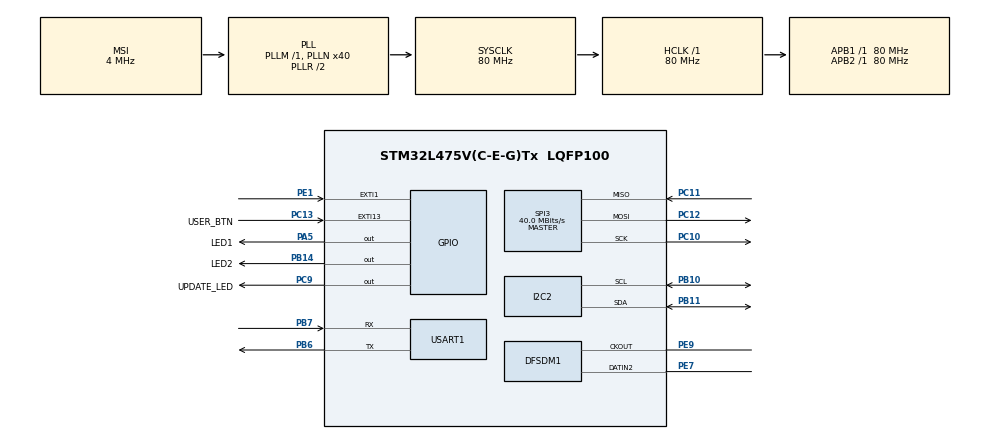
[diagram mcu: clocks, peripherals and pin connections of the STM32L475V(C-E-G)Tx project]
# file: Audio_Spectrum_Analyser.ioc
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DFSDM1.Divider=100
DFSDM1.DmaMode_reg_FIL0=ENABLE
DFSDM1.FilterOrder_CH2=DFSDM_CHANNEL_FASTSINC_ORDER
DFSDM1.Filter_regChannel_FIL0=DFSDM_CHANNEL_2
DFSDM1.Fosr_FIL0=64
DFSDM1.RightBitShift_CH2=0x08
DFSDM1.SincOrder_FIL0=DFSDM_FILTER_SINC3_ORDER
DFSDM1.Type_spi_CH2=DFSDM_CHANNEL_SPI_RISING
Dma.DFSDM1_FLT0.0.Direction=DMA_PERIPH_TO_MEMORY
Dma.DFSDM1_FLT0.0.Instance=DMA1_Channel4
Dma.DFSDM1_FLT0.0.MemDataAlignment=DMA_MDATAALIGN_WORD
Dma.DFSDM1_FLT0.0.MemInc=DMA_MINC_ENABLE
Dma.DFSDM1_FLT0.0.Mode=DMA_CIRCULAR
Dma.DFSDM1_FLT0.0.PeriphDataAlignment=DMA_PDATAALIGN_WORD
Dma.DFSDM1_FLT0.0.PeriphInc=DMA_PINC_DISABLE
Dma.DFSDM1_FLT0.0.Priority=DMA_PRIORITY_LOW
Dma.Request0=DFSDM1_FLT0
I2C2.Timing=0x10D19CE4
Mcu.Family=STM32L4
Mcu.Name=STM32L475V(C-E-G)Tx
Mcu.Package=LQFP100
NVIC.DFSDM1_FLT0_IRQn=true\:0\:0\:false\:false\:true\:true\:true\:true
NVIC.DMA1_Channel4_IRQn=true\:0\:0\:false\:false\:true\:false\:true\:true
NVIC.EXTI15_10_IRQn=true\:0\:0\:false\:false\:true\:true\:true\:true
NVIC.EXTI1_IRQn=true\:0\:0\:false\:false\:true\:true\:true\:true
NVIC.PriorityGroup=NVIC_PRIORITYGROUP_4
NVIC.SPI3_IRQn=true\:0\:0\:false\:false\:false\:true\:true\:true
PA13\ (JTMS-SWDIO).Mode=Trace_Asynchronous_SW
PA13\ (JTMS-SWDIO).Signal=SYS_JTMS-SWDIO
PA14\ (JTCK-SWCLK).Mode=Trace_Asynchronous_SW
PA14\ (JTCK-SWCLK).Signal=SYS_JTCK-SWCLK
PA5.GPIO_Label=LED1
PA5.Signal=GPIO_Output
PB10.Mode=I2C
PB10.Signal=I2C2_SCL
PB11.Mode=I2C
PB11.Signal=I2C2_SDA
PB14.GPIO_Label=LED2
PB14.Signal=GPIO_Output
PB3\ (JTDO-TRACESWO).Mode=Trace_Asynchronous_SW
PB3\ (JTDO-TRACESWO).Signal=SYS_JTDO-SWO
PB6.Mode=Asynchronous
PB6.Signal=USART1_TX
PB7.Mode=Asynchronous
PB7.Signal=USART1_RX
PC10.Mode=Full_Duplex_Master
PC10.Signal=SPI3_SCK
PC11.Mode=Full_Duplex_Master
PC11.Signal=SPI3_MISO
PC12.Mode=Full_Duplex_Master
PC12.Signal=SPI3_MOSI
PC13.GPIO_Label=USER_BTN
PC13.GPIO_PuPd=GPIO_PULLDOWN
PC13.Signal=GPXTI13
PC9.GPIO_Label=UPDATE_LED
PC9.Signal=GPIO_Output
PE1.Signal=GPXTI1
PE7.Signal=S_DATAIN2DFSDM1
PE9.GPIO_Speed=GPIO_SPEED_FREQ_VERY_HIGH
PE9.Signal=S_CKOUTDFSDM1
ProjectManager.HeapSize=0x800
ProjectManager.StackSize=0x1000
ProjectManager.TargetToolchain=STM32CubeIDE
RCC.ADCFreq_Value=32000000
RCC.AHBFreq_Value=80000000
RCC.APB1Freq_Value=80000000
RCC.APB1TimFreq_Value=80000000
RCC.APB2Freq_Value=80000000
RCC.APB2TimFreq_Value=80000000
RCC.CortexFreq_Value=80000000
RCC.HCLKFreq_Value=80000000
RCC.HSE_VALUE=8000000
RCC.HSI_VALUE=16000000
RCC.LSE_VALUE=32768
RCC.MSI_VALUE=4000000
RCC.PLLN=40
RCC.PLLSAI1N=16
RCC.SYSCLKFreq_VALUE=80000000
RCC.SYSCLKSource=RCC_SYSCLKSOURCE_PLLCLK
RCC.USBFreq_Value=32000000
RCC.VCOOutputFreq_Value=160000000
SH.S_CKOUTDFSDM1.0=DFSDM1_CKOUT,CKOUT
SH.S_CKOUTDFSDM1.1=DFSDM1_CKOUT,PDM_SPI_input_from_ch2_and_internal_clock
SH.S_DATAIN2DFSDM1.0=DFSDM1_DATIN2,PDM_SPI_input_from_ch2_and_internal_clock
SPI3.CalculateBaudRate=40.0 MBits/s
SPI3.Direction=SPI_DIRECTION_2LINES
SPI3.Mode=SPI_MODE_MASTER
SPI3.VirtualType=VM_MASTER
USART1.VirtualMode-Asynchronous=VM_ASYNC
VP_RNG_VS_RNG.Mode=RNG_Activate
VP_wolfSSL.I-CUBE-wolfSSL_VS_wolfSSLJjwolfSSL_5.8.4_5.8.4.Mode=wolfSSLJjwolfSSL
board=custom
wolfSSL.I-CUBE-wolfSSL.5.8.4.WOLF_CONF_DEBUG=1
wolfSSL.I-CUBE-wolfSSL.5.8.4.WOLF_CONF_MATH=1
wolfSSL.I-CUBE-wolfSSL.5.8.4.WOLF_CONF_SHA2_384=1
wolfSSL.I-CUBE-wolfSSL.5.8.4.wolfSSLCcwolfSSLJjwolfCryptJjCore=true
wolfSSL.I-CUBE-wolfSSL.5.8.4.wolfSSLCcwolfSSLJjwolfSSLJjCore=true

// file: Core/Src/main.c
/* USER CODE BEGIN Header */
/**
  ******************************************************************************
  * @file           : main.c
  * @brief          : Main program body
  ******************************************************************************
  * @attention
  *
  * Copyright (c) 2026 STMicroelectronics.
  * All rights reserved.
  *
  * This software is licensed under terms that can be found in the LICENSE file
  * in the root directory of this software component.
  * If no LICENSE file comes with this software, it is provided AS-IS.
  *
  ******************************************************************************
  */
/* USER CODE END Header */
#include "main.h"

/* USER CODE BEGIN Includes */

#include <stdio.h>
#include <string.h>
#include "arm_math.h"
#include "secrets.h"
#include "wifi.h"
#include "stm32l475e_iot01.h"
#include "ota_update.h"
#include "connect_to_wifi.h"

#include "wolfssl/ssl.h"
#include "wolfssl/error-ssl.h"
#include "wolfssl/wolfcrypt/error-crypt.h"

/*
 * Always comment out void SPI3_IRQHandler(void) in stm32l4xx_it.c
 *
 */

/* USER CODE END Includes */

/* USER CODE BEGIN PD */

/** Process_fft**/
 #define VOLUME_THRESHOLD 100000
#define CRY_FREQ_MIN 700
#define CRY_FREQ_MAX 1200
#define SAMPLE_RATE       12500  // (Clock speed/divider) / oversampling rate
#define HALF_BUFFER_LEN           1024   // Must match your buffer processing
#define WIFI_WRITE_TIMEOUT 10000

/** Smart monitor timing PD **/
// 1. How long is one "tick"? (1024 samples / 12.5kHz) = 81ms, with divider = 100
#define FRAME_S ((float)HALF_BUFFER_LEN / (float)SAMPLE_RATE)

// 2. Window Size: 5 / 0.08192 = 61.03 -> (int)61
#define WINDOW_SEC 5
#define WINDOW_SIZE (int)(WINDOW_SEC / FRAME_S)

#define PROOF_SEC 0.5
#define TRIGGER_THRESHOLD (int)(PROOF_SEC / FRAME_S)

/* USER CODE END PD */

DFSDM_Filter_HandleTypeDef hdfsdm1_filter0;
DFSDM_Channel_HandleTypeDef hdfsdm1_channel2;
DMA_HandleTypeDef hdma_dfsdm1_flt0;

I2C_HandleTypeDef hi2c2;

RNG_HandleTypeDef hrng;

SPI_HandleTypeDef hspi3;

UART_HandleTypeDef huart1;

/* USER CODE BEGIN PV */

uint32_t pChannel = 0; // Needed to store which channel the data came from
int32_t mic_val = 0;   // To store the actual audio data

volatile uint8_t button_pressed_flag = 0;

/** DMA **/
#define BUFF_SIZE 2048
int32_t RecBuff[BUFF_SIZE]; // The "Big Box" for audio samples
uint8_t half_transfer_flag = 0; // Flag: First half is full
uint8_t full_transfer_flag = 0; // Flag: Second half is full

/** FT SETTINGS  **/
#define HALF_BUFFER_LEN 1024  // Length of the analysis window
arm_rfft_fast_instance_f32 fft_handler; // The FFT "Object"
float fft_in_buf[HALF_BUFFER_LEN];    // Input: Audio in floats
float fft_out_buf[HALF_BUFFER_LEN];   // Output: Complex numbers (Real + Imaginary)
float fft_mag_buf[HALF_BUFFER_LEN/2]; // Final: Magnitude (Just the loudness)
volatile uint8_t buffer_state = 0;

uint16_t history_idx = 0;   // Where are we writing in the circle?
uint16_t current_score = 0; // Running sum of votes (How many 1s are in the array?)
uint8_t alarm_active = 0;   // Prevent spamming WiFi

/**Wifi**/

int32_t Socket = -1;

uint16_t Datalen;
int32_t ret;
extern ES_WIFIObject_t EsWifiObj;

#if defined (TERMINAL_USE)
#define TERMOUT(...)  printf(__VA_ARGS__)
#else
#define TERMOUT(...)
#endif

extern SPI_HandleTypeDef hspi;

/* USER CODE END PV */

void SystemClock_Config(void);
static void MX_GPIO_Init(void);
static void MX_DMA_Init(void);
static void MX_DFSDM1_Init(void);
static void MX_USART1_UART_Init(void);
static void MX_I2C2_Init(void);
static void MX_SPI3_Init(void);
static void MX_RNG_Init(void);

/* USER CODE BEGIN 0 */

#define REQ_BUFFER_SIZE  1024
#define RESP_BUFFER_SIZE 1024

static uint8_t req_buffer[REQ_BUFFER_SIZE];
static uint8_t resp_buffer[RESP_BUFFER_SIZE];

const char ca_cert_bundle[] =
"-----BEGIN CERTIFICATE-----\n"
"MIIFazCCA1OgAwIBAgIRAIIQz7DSQONZRGPgu2OCiwAwDQYJKoZIhvcNAQELBQAw\n"
"TzELMAkGA1UEBhMCVVMxKTAnBgNVBAoTIEludGVybmV0IFNlY3VyaXR5IFJlc2Vh\n"
"cmNoIEdyb3VwMRUwEwYDVQQDEwxJU1JHIFJvb3QgWDEwHhcNMTUwNjA0MTEwNDM4\n"
"WhcNMzUwNjA0MTEwNDM4WjBPMQswCQYDVQQGEwJVUzEpMCcGA1UEChMgSW50ZXJu\n"
"ZXQgU2VjdXJpdHkgUmVzZWFyY2ggR3JvdXAxFTATBgNVBAMTDElTUkcgUm9vdCBY\n"
"MTCCAiIwDQYJKoZIhvcNAQEBBQADggIPADCCAgoCggIBAK3oJHP0FDfzm54rVygc\n"
"h77ct984kIxuPOZXoHj3dcKi/vVqbvYATyjb3miGbESTtrFj/RQSa78f0uoxmyF+\n"
"0TM8ukj13Xnfs7j/EvEhmkvBioZxaUpmZmyPfjxwv60pIgbz5MDmgK7iS4+3mX6U\n"
"A5/TR5d8mUgjU+g4rk8Kb4Mu0UlXjIB0ttov0DiNewNwIRt18jA8+o+u3dpjq+sW\n"
"T8KOEUt+zwvo/7V3LvSye0rgTBIlDHCNAymg4VMk7BPZ7hm/ELNKjD+Jo2FR3qyH\n"
"B5T0Y3HsLuJvW5iB4YlcNHlsdu87kGJ55tukmi8mxdAQ4Q7e2RCOFvu396j3x+UC\n"
"B5iPNgiV5+I3lg02dZ77DnKxHZu8A/lJBdiB3QW0KtZB6awBdpUKD9jf1b0SHzUv\n"
"KBds0pjBqAlkd25HN7rOrFleaJ1/ctaJxQZBKT5ZPt0m9STJEadao0xAH0ahmbWn\n"
"OlFuhjuefXKnEgV4We0+UXgVCwOPjdAvBbI+e0ocS3MFEvzG6uBQE3xDk3SzynTn\n"
"jh8BCNAw1FtxNrQHusEwMFxIt4I7mKZ9YIqioymCzLq9gwQbooMDQaHWBfEbwrbw\n"
"qHyGO0aoSCqI3Haadr8faqU9GY/rOPNk3sgrDQoo//fb4hVC1CLQJ13hef4Y53CI\n"
"rU7m2Ys6xt0nUW7/vGT1M0NPAgMBAAGjQjBAMA4GA1UdDwEB/wQEAwIBBjAPBgNV\n"
"HRMBAf8EBTADAQH/MB0GA1UdDgQWBBR5tFnme7bl5AFzgAiIyBpY9umbbjANBgkq\n"
"hkiG9w0BAQsFAAOCAgEAVR9YqbyyqFDQDLHYGmkgJykIrGF1XIpu+ILlaS/V9lZL\n"
"ubhzEFnTIZd+50xx+7LSYK05qAvqFyFWhfFQDlnrzuBZ6brJFe+GnY+EgPbk6ZGQ\n"
"3BebYhtF8GaV0nxvwuo77x/Py9auJ/GpsMiu/X1+mvoiBOv/2X/qkSsisRcOj/KK\n"
"NFtY2PwByVS5uCbMiogziUwthDyC3+6WVwW6LLv3xLfHTjuCvjHIInNzktHCgKQ5\n"
"ORAzI4JMPJ+GslWYHb4phowim57iaztXOoJwTdwJx4nLCgdNbOhdjsnvzqvHu7Ur\n"
"TkXWStAmzOVyyghqpZXjFaH3pO3JLF+l+/+sKAIuvtd7u+Nxe5AW0wdeRlN8NwdC\n"
"jNPElpzVmbUq4JUagEiuTDkHzsxHpFKVK7q4+63SM1N95R1NbdWhscdCb+ZAJzVc\n"
"oyi3B43njTOQ5yOf+1CceWxG1bQVs5ZufpsMljq4Ui0/1lvh+wjChP4kqKOJ2qxq\n"
"4RgqsahDYVvTH9w7jXbyLeiNdd8XM2w9U/t7y0Ff/9yi0GE44Za4rF2LN9d11TPA\n"
"mRGunUHBcnWEvgJBQl9nJEiU0Zsnvgc/ubhPgXRR4Xq37Z0j4r7g1SgEEzwxA57d\n"
"emyPxgcYxn/eR44/KJ4EBs+lVDR3veyJm+kXQ99b21/+jh5Xos1AnX5iItreGCc=\n"
"-----END CERTIFICATE-----\n";

static int my_verify_callback(int preverify, WOLFSSL_X509_STORE_CTX* store) {
    // Return 1 to bypass strict verification for testing purposes.
    // In production, return 'preverify' to enforce CA validation.
    return 1;

}

static int my_IOSend(WOLFSSL* ssl, char* buf, int sz, void* ctx) {
    int socket_id = wolfSSL_get_fd(ssl);
    uint16_t total_sent = 0;
    int retries = 3;

    while (total_sent < sz) {
        uint16_t chunk_size = (sz - total_sent > 1200) ? 1200 : (sz - total_sent);
        uint16_t sent_len = 0;

        if (WIFI_SendData(socket_id, (uint8_t*)(buf + total_sent), chunk_size, &sent_len, 2000) != WIFI_STATUS_OK) {
            return WOLFSSL_CBIO_ERR_GENERAL;
        }

        if (sent_len == 0) {
        	retries--;
            if (retries <= 0) {
                return WOLFSSL_CBIO_ERR_TIMEOUT;
            }
            continue;
        }

        retries = 3;
        total_sent += sent_len;
    }

    return total_sent;
}

/**
  * @brief  Custom wolfSSL I/O receive callback for the Inventek ISM43362 Wi-Fi module.
  * @param  ssl:  Pointer to the wolfSSL session context.
  * @param  buf:  Destination buffer for received bytes.
  * @param  sz:   Requested read length (in bytes).
  * @param  ctx:  User-defined I/O context pointer.
  * @retval Number of bytes successfully received, or a negative wolfSSL I/O error code.
  *
  * @note   If there is a timeout, Inventek will still return WIFI_STATUS_OK (no error), thus leading to an infinite loop.
  *			This is why I added a limited amount of retry.
  */
static int my_IORecv(WOLFSSL* ssl, char* buf, int sz, void* ctx) {
    int socket_id = wolfSSL_get_fd(ssl);
    uint16_t rec_len = 0;
    uint16_t chunk_size = (sz > 1200) ? 1200 : sz;
    int retries = 3;

    while (retries--) {
        if (WIFI_ReceiveData(socket_id, (uint8_t*)buf, chunk_size, &rec_len, 5000) != WIFI_STATUS_OK) {
            return WOLFSSL_CBIO_ERR_GENERAL;
        }
        if (rec_len > 0) {
            return rec_len;
        }
    }

    return WOLFSSL_CBIO_ERR_TIMEOUT;
}

typedef enum {
	SYS_SLEEP,
	SYS_WIFI_CONNECTING,
	SYS_RUNNING_WITH_NO_WIFI,
	SYS_TCP_CONNECTING,
	SYS_RUNNING_WITH_NO_TCP,
	OTA_CHECKING_UPDATE,
	OTA_UPDATING,
	SYS_NORMAL_RUNNING

} Device_State_t;

Device_State_t current_device_state = SYS_SLEEP;

int _write(int file, char *ptr, int len)
{
//  (void)file;
//  int DataIdx;
//
//  for (DataIdx = 0; DataIdx < len; DataIdx++)
//  {
//    ITM_SendChar(*ptr++);
//  }
	HAL_UART_Transmit(&huart1, (uint8_t *)ptr, len, HAL_MAX_DELAY);
	return len;
}

float Process_FFT(int32_t *r)
{
    int32_t *source_buffer = r;

    // --- STEP 1: MATH (Calculate FFT) ---
    // 1. Remove DC Offset
    int64_t sum = 0;
    for (int i = 0; i < HALF_BUFFER_LEN; i++) sum += source_buffer[i];
    float avg = (float)sum / (float)HALF_BUFFER_LEN;
    for (int i = 0; i < HALF_BUFFER_LEN; i++) fft_in_buf[i] = (float)source_buffer[i] - avg;

    // 2. Run FFT
    arm_rfft_fast_f32(&fft_handler, fft_in_buf, fft_out_buf, 0);
    arm_cmplx_mag_f32(fft_out_buf, fft_mag_buf, HALF_BUFFER_LEN/2);

    // --- STEP 2: ANALYZE (Find the Peak strictly for Baby Crying) ---
    float maxVal = 0.0f;
    uint32_t maxIndex = 0;

    uint32_t bin_min = (CRY_FREQ_MIN * HALF_BUFFER_LEN) / SAMPLE_RATE;
    uint32_t bin_max = (CRY_FREQ_MAX * HALF_BUFFER_LEN) / SAMPLE_RATE;

    // Only scan for peaks WITHIN the baby frequency band
    for (uint32_t i = bin_min; i <= bin_max; i++)
    {
        if (fft_mag_buf[i] > maxVal)
        {
            maxVal = fft_mag_buf[i];
            maxIndex = i;
        }
    }

    // Convert Bin Index back to Frequency in Hz
    float dominant_freq = (float)maxIndex * ((float)SAMPLE_RATE / (float)HALF_BUFFER_LEN);

    // --- STEP 3: FILTER (Is it loud enough?) ---
    if (maxVal > VOLUME_THRESHOLD)
    {
        printf(">>> MATCH! Baby Frequency Detected: %.0f Hz  at max frequency: %.2f<<<\r\n", dominant_freq, maxVal);
        return dominant_freq;
    }

    return 0.0f; // Return 0 if silence or non-baby noise
}

static int Send_Sensor_Payload(WOLFSSL* ssl, const char *sensor_name, float value, int keep_alive) {
    char json_body[128];
    int json_len = snprintf(json_body, sizeof(json_body),  "{\"sensor_name\": \"%s\", \"value\": %.2f}", sensor_name, value);

    int req_len = snprintf((char *)req_buffer, sizeof(req_buffer),
        "POST /data HTTP/1.1\r\n"
        "Host: %s\r\n"
        "Content-Type: application/json\r\n"
        "X-API-Key: %s\r\n"
        "Content-Length: %d\r\n"
        "Connection: %s\r\n"
        "\r\n"
        "%s",
        SERVER_HOST, API_KEY, json_len, keep_alive ? "keep-alive" : "close", json_body);

    if (wolfSSL_write(ssl, req_buffer, req_len) < 0) {
        return 0;
    }

    memset(resp_buffer, 0, sizeof(resp_buffer));
    int total_bytes = 0;
    int success = 0;

    // The railway server send multiple respond packet. We must clear Inventek buffer before moving on.
    while (total_bytes < (sizeof(resp_buffer) - 1)) {
        int bytes_read = wolfSSL_read(ssl, resp_buffer + total_bytes, sizeof(resp_buffer) - total_bytes - 1);

        if (bytes_read <= 0) {
            break;
        }

        total_bytes += bytes_read;
        if (strstr((char *)resp_buffer, "HTTP/1.1 201") != NULL ||
            strstr((char *)resp_buffer, "HTTP/1.1 200") != NULL) {
            success = 1;
        }
        if (strstr((char *)resp_buffer, "}") != NULL) {
            break;
        }
    }

    return success;
}

int Process_Backlog_And_Send_Live(float press_val) {
    uint8_t server_ip[4] = {0};
    uint8_t TCP_success = 1;

    if (WIFI_GetHostAddress((char *)SERVER_HOST, server_ip, sizeof(server_ip)) != WIFI_STATUS_OK) {
        printf("> DNS lookup failed\r\n");
        return 0;
    }

    wolfSSL_Init();
    WOLFSSL_CTX* ctx = wolfSSL_CTX_new(wolfTLSv1_2_client_method());
    if (ctx == NULL) {
        printf("> Error: Failed to create wolfSSL context\r\n");
        return 0;
    }

    wolfSSL_SetIOSend(ctx, my_IOSend);
    wolfSSL_SetIORecv(ctx, my_IORecv);

    int ret = wolfSSL_CTX_load_verify_buffer(ctx, (const unsigned char*)ca_cert_bundle, strlen(ca_cert_bundle), WOLFSSL_FILETYPE_PEM);
    if (ret != WOLFSSL_SUCCESS) {
        char err_str[80];
        wolfSSL_ERR_error_string(ret, err_str);
        printf("Buffer load failed: %s\n", err_str);
        wolfSSL_CTX_free(ctx);
        wolfSSL_Cleanup();
        return 0;
    }

    wolfSSL_CTX_set_verify(ctx, WOLFSSL_VERIFY_PEER, my_verify_callback);
    wolfSSL_CTX_UseSNI(ctx, WOLFSSL_SNI_HOST_NAME, SERVER_HOST, strlen(SERVER_HOST));

    if (WIFI_OpenClientConnection(SOCKET_ID, WIFI_TCP_PROTOCOL, "FlaskServer", server_ip, SERVER_PORT, 0) != WIFI_STATUS_OK) {
        printf("> TCP connection failed\r\n");
        wolfSSL_CTX_free(ctx);
        return 0;
    }

    WOLFSSL* ssl = wolfSSL_new(ctx);
    wolfSSL_set_fd(ssl, SOCKET_ID);

    printf("> Starting wolfSSL TLS Handshake...\r\n");
    if (wolfSSL_connect(ssl) != WOLFSSL_SUCCESS) {
        int err = wolfSSL_get_error(ssl, 0);
        char err_str[80];
        wolfSSL_ERR_error_string(err, err_str);
        printf("wolfSSL_connect error %d: %s\n", err, err_str);
        wolfSSL_free(ssl);
        wolfSSL_CTX_free(ctx);
        WIFI_CloseClientConnection(SOCKET_ID);
        return 0;
    }
    printf("> Secure TLS connection established via wolfSSL!\r\n");

    /*
     * --- LITTLEFS BACKLOG STUBBED FOR TLS TESTING ---
     *
     * lfs_file_t file;
     * int file_opened = (lfs_file_open(&lfs, &file, "backlog.bin", LFS_O_RDONLY) == 0);
     * if (file_opened) { ... }
     */

    if (TCP_success) {
        printf("> Sending live reading: %.2f\r\n", press_val);
        if (Send_Sensor_Payload(ssl, "humidity_percent", press_val, 0) == 0) {
            // Save_Offline_Data("humidity_percent", press_val);
            printf("> Failed to send live payload.\r\n");
        }
    }

    wolfSSL_free(ssl);
    wolfSSL_CTX_free(ctx);
    wolfSSL_Cleanup();
    WIFI_CloseClientConnection(SOCKET_ID);
    printf("> Connection closed.\r\n");

    return TCP_success;
}

void Process_Acoustic_Monitor(void)
{
    if (buffer_state != 0)
    {

        int32_t *current_chunk = (buffer_state == 1) ? &RecBuff[0] : &RecBuff[BUFF_SIZE/2];

        float freq = Process_FFT(current_chunk);

        uint8_t new_vote = (freq > 0) ? 1 : 0;

        current_score -= vote_history[history_idx];
        current_score += new_vote;
        vote_history[history_idx] = new_vote;

        history_idx++;
        if (history_idx >= WINDOW_SIZE) history_idx = 0;

        if (current_score >= TRIGGER_THRESHOLD)
        {
            if (alarm_active == 0)
            {
                 printf("!!! ALARM TRIGGERED !!! (Score: %d/%d)\n", current_score, WINDOW_SIZE);

                 if ((current_device_state == SYS_NORMAL_RUNNING)) {
					  char msg[256];

					  sprintf(msg,
							  "GET /alert?freq=%.0f HTTP/1.1\r\n"
							  "Host: %d.%d.%d.%d\r\n"
							  "Connection: keep-alive\r\n"
							  "\r\n",
							  freq, RemoteIP[0], RemoteIP[1], RemoteIP[2], RemoteIP[3]);

					  if ( WIFI_SendData(0, (uint8_t*)msg, strlen(msg), &Datalen, WIFI_WRITE_TIMEOUT) != WIFI_STATUS_OK) {

					      printf("> ERROR: Backend stream disconnected unexpectedly.\r\n");

					      WIFI_CloseClientConnection(0);

					      current_device_state = SYS_RUNNING_WITH_NO_TCP;

					      return;
					  }
				  }
                 alarm_active = 1;
            }
        }
        else
        {

            if (current_score < (TRIGGER_THRESHOLD / 2) && alarm_active == 1)
            {
                 printf("Alarm Cleared. (Score: %d)\n", current_score);
                 BSP_LED_Off(LED2);
                 alarm_active = 0;
            }
        }

        buffer_state = 0;
    }
}

void Go_To_Stop_Sleep(void) {
	printf("> Entering STOP 2 Low-Power Mode...\r\n");

	//  wait for the printf text to fully leave the UART hardware
	while (__HAL_UART_GET_FLAG(&huart1, UART_FLAG_TC) == RESET) {
		// Wait...
	}

    WIFI_CloseClientConnection(0);

	HAL_GPIO_WritePin(GPIOA, GPIO_PIN_5, GPIO_PIN_RESET);  // LED1
	HAL_GPIO_WritePin(GPIOB, GPIO_PIN_14, GPIO_PIN_RESET); // LED2

	HAL_DFSDM_FilterRegularStop_DMA(&hdfsdm1_filter0);

	HAL_NVIC_DisableIRQ(EXTI1_IRQn);  // wifi interrupt
	__HAL_GPIO_EXTI_CLEAR_IT(GPIO_PIN_All); // Clear any pending interrupt flag
	HAL_SuspendTick();

	// The CPU stops here until any external interrupt fires (in our case, user_btn)
	HAL_PWR_EnterSTOPMode(PWR_LOWPOWERREGULATOR_ON, PWR_STOPENTRY_WFI);

	HAL_ResumeTick();

	HAL_NVIC_EnableIRQ(EXTI1_IRQn);

	SystemClock_Config();

	if (HAL_DFSDM_FilterRegularStart_DMA(&hdfsdm1_filter0, RecBuff, BUFF_SIZE) != HAL_OK)
	{
	  Error_Handler();
	}

	printf("> Woken up from STOP 2 Mode!\r\n");
}

void Device_ProcessEvent() {

	static server_update_info_t update_data = {0};

	switch(current_device_state) {

		case SYS_SLEEP:
			Go_To_Stop_Sleep();

			if (button_pressed_flag) {
				button_pressed_flag = 0;
				current_device_state = SYS_WIFI_CONNECTING;
			}
			break;

		case SYS_WIFI_CONNECTING:

			if (button_pressed_flag) {
				button_pressed_flag = 0;
				current_device_state = SYS_SLEEP;
				break;
			}

			if (Init_And_Connect_WiFi()) {

				current_device_state = SYS_TCP_CONNECTING;
			}

			else {
				current_device_state = SYS_RUNNING_WITH_NO_WIFI;
			}

			break;

		case SYS_TCP_CONNECTING:

			if (!Open_TCP_Connection()) {
				current_device_state = SYS_RUNNING_WITH_NO_TCP;
				break;
			}

			current_device_state = OTA_CHECKING_UPDATE;
			break;

		case OTA_CHECKING_UPDATE:

			if (Check_For_Update_OTA(&update_data)) {

				if (update_data.update_flag == UPDATE_AVAILABLE_FLAG) {
					// turn on LED
					current_device_state = OTA_UPDATING;
				}
				else {
					HAL_Delay(500);
					if (Open_TCP_Connection()) {
						current_device_state = SYS_NORMAL_RUNNING;
					} else {
						current_device_state = SYS_RUNNING_WITH_NO_TCP;
					}
				}
			}
			else {
				HAL_Delay(500);
				if (Open_TCP_Connection()) {
					current_device_state = SYS_NORMAL_RUNNING;
				} else {
					current_device_state = SYS_RUNNING_WITH_NO_TCP;
				}
			}

			break;

		case OTA_UPDATING:
			Download_And_Flash_Update(&update_data);
			// this will reboot system
			break;

		case SYS_RUNNING_WITH_NO_WIFI:
		{
			if (hdfsdm1_filter0.State == HAL_DFSDM_FILTER_STATE_READY) { // this checks if dma already on
				HAL_DFSDM_FilterRegularStart_DMA(&hdfsdm1_filter0, RecBuff, BUFF_SIZE);
			}
			Process_Acoustic_Monitor();

			static uint32_t last_wifi_retry_tick = 0;
			uint32_t current_tick = HAL_GetTick();

			if (current_tick - last_wifi_retry_tick >= 60000)
			{
				last_wifi_retry_tick = current_tick; // Reset the timer

				printf("> 60 seconds passed. Attempting Wi-Fi reconnection...\r\n");

				// Stop the audio DMA so it doesn't overflow while the CPU is busy connecting
				HAL_DFSDM_FilterRegularStop_DMA(&hdfsdm1_filter0);

				current_device_state = SYS_WIFI_CONNECTING;
				break;
			}

			if (button_pressed_flag) {
				button_pressed_flag = 0;
				printf("> User requested Sleep Mode. Transitioning...\r\n");
				current_device_state = SYS_SLEEP;
			}
			break;
		}

		case SYS_RUNNING_WITH_NO_TCP:
		{
			if (hdfsdm1_filter0.State == HAL_DFSDM_FILTER_STATE_READY) { // this checks if dma already on
				HAL_DFSDM_FilterRegularStart_DMA(&hdfsdm1_filter0, RecBuff, BUFF_SIZE); // Start the microphone data samplinh
			}

			Process_Acoustic_Monitor();

			static uint32_t last_tcp_retry_tick = 0;
			uint32_t current_tick = HAL_GetTick();

			if (current_tick - last_tcp_retry_tick >= 10000)
			{
				last_tcp_retry_tick = current_tick;

				uint8_t local_ip[4] = {0};

				if (WIFI_GetIP_Address(local_ip, sizeof(local_ip))  != WIFI_STATUS_OK ||
				   (local_ip[0] == 0 && local_ip[1] == 0))
				{
					printf("> ERROR: Lost IP Address. Router disconnected.\r\n");

					HAL_DFSDM_FilterRegularStop_DMA(&hdfsdm1_filter0);
					current_device_state = SYS_RUNNING_WITH_NO_WIFI;
					break;
				}
				else
				{
					printf("> Wi-Fi is active (IP: %d.%d.%d.%d). Retrying TCP connection...\r\n",
							local_ip[0], local_ip[1], local_ip[2], local_ip[3]);

					HAL_DFSDM_FilterRegularStop_DMA(&hdfsdm1_filter0);
					current_device_state = SYS_TCP_CONNECTING;
					break;
				}
			}

			if (button_pressed_flag) {
				button_pressed_flag = 0;
				printf("> User requested Sleep Mode. Transitioning...\r\n");
				current_device_state = SYS_SLEEP;
			}
			break;
		}

		case SYS_NORMAL_RUNNING:
		{
			if (hdfsdm1_filter0.State == HAL_DFSDM_FILTER_STATE_READY) {
				HAL_DFSDM_FilterRegularStart_DMA(&hdfsdm1_filter0, RecBuff, BUFF_SIZE);
			}

			Process_Acoustic_Monitor();

			// Periodically check if connection alive ( every 300 seconds)
			static uint32_t last_tcp_check_tick = 0;
			uint32_t current_tick = HAL_GetTick();

			if (current_tick - last_tcp_check_tick >= 10000)
			{
				last_tcp_check_tick = current_tick;
				uint16_t sent_size = 0;
				char heartbeat_req[128];
				snprintf(heartbeat_req, sizeof(heartbeat_req),
						 "GET /ping HTTP/1.1\r\n"
						 "Host: %d.%d.%d.%d\r\n"
						 "Connection: keep-alive\r\n\r\n",
						 RemoteIP[0], RemoteIP[1], RemoteIP[2], RemoteIP[3]);

				if (WIFI_SendData(0, (uint8_t*)heartbeat_req, strlen(heartbeat_req), &sent_size, 500) != WIFI_STATUS_OK)
				{
					printf("> ERROR: Periodic TCP heartbeat failed. Dropping to offline mode...\r\n");

					WIFI_CloseClientConnection(0);
					current_device_state = SYS_RUNNING_WITH_NO_TCP;
					break;
				}
			}

			if (button_pressed_flag) {
				button_pressed_flag = 0;
				printf("> User requested Sleep Mode. Transitioning...\r\n");
				current_device_state = SYS_SLEEP;
			}
			break;
		}

	}
}
/* USER CODE END 0 */

int main(void)
{

  /* MCU Configuration--------------------------------------------------------*/

  /* Reset of all peripherals, Initializes the Flash interface and the Systick. */
  HAL_Init();

  /* USER CODE BEGIN Init */

  SCB->VTOR = 0x08008000;

  __enable_irq();

  /* USER CODE END Init */

  /* Configure the system clock */
  SystemClock_Config();

  /* Initialize all configured peripherals */
  MX_GPIO_Init();
  MX_DMA_Init();
  MX_DFSDM1_Init();
  MX_USART1_UART_Init();
  MX_I2C2_Init();
  MX_SPI3_Init();
  MX_RNG_Init();
  /* USER CODE BEGIN 2 */

  arm_rfft_fast_init_f32(&fft_handler, HALF_BUFFER_LEN);

//  if (Init_And_Connect_WiFi()) {
//        Process_Backlog_And_Send_Live(10.0);
//    } else {
//        printf("> Wi-Fi Connection Failed. Cannot send payload.\r\n");
//    }

  /* USER CODE END 2 */

  /* Infinite loop */
  /* USER CODE BEGIN WHILE */
  while (1)
  {

//	  Process_Acoustic_Monitor();
	  Device_ProcessEvent();
    /* USER CODE END WHILE */

  }
}

void SystemClock_Config(void)
{
  RCC_OscInitTypeDef RCC_OscInitStruct = {0};
  RCC_ClkInitTypeDef RCC_ClkInitStruct = {0};

  /** Configure the main internal regulator output voltage
  */
  if (HAL_PWREx_ControlVoltageScaling(PWR_REGULATOR_VOLTAGE_SCALE1) != HAL_OK)
  {
    Error_Handler();
  }

  /** Initializes the RCC Oscillators according to the specified parameters
  * in the RCC_OscInitTypeDef structure.
  */
  RCC_OscInitStruct.OscillatorType = RCC_OSCILLATORTYPE_MSI;
  RCC_OscInitStruct.MSIState = RCC_MSI_ON;
  RCC_OscInitStruct.MSICalibrationValue = 0;
  RCC_OscInitStruct.MSIClockRange = RCC_MSIRANGE_6;
  RCC_OscInitStruct.PLL.PLLState = RCC_PLL_ON;
  RCC_OscInitStruct.PLL.PLLSource = RCC_PLLSOURCE_MSI;
  RCC_OscInitStruct.PLL.PLLM = 1;
  RCC_OscInitStruct.PLL.PLLN = 40;
  RCC_OscInitStruct.PLL.PLLP = RCC_PLLP_DIV7;
  RCC_OscInitStruct.PLL.PLLQ = RCC_PLLQ_DIV2;
  RCC_OscInitStruct.PLL.PLLR = RCC_PLLR_DIV2;
  if (HAL_RCC_OscConfig(&RCC_OscInitStruct) != HAL_OK)
  {
    Error_Handler();
  }

  /** Initializes the CPU, AHB and APB buses clocks
  */
  RCC_ClkInitStruct.ClockType = RCC_CLOCKTYPE_HCLK|RCC_CLOCKTYPE_SYSCLK
                              |RCC_CLOCKTYPE_PCLK1|RCC_CLOCKTYPE_PCLK2;
  RCC_ClkInitStruct.SYSCLKSource = RCC_SYSCLKSOURCE_PLLCLK;
  RCC_ClkInitStruct.AHBCLKDivider = RCC_SYSCLK_DIV1;
  RCC_ClkInitStruct.APB1CLKDivider = RCC_HCLK_DIV1;
  RCC_ClkInitStruct.APB2CLKDivider = RCC_HCLK_DIV1;

  if (HAL_RCC_ClockConfig(&RCC_ClkInitStruct, FLASH_LATENCY_4) != HAL_OK)
  {
    Error_Handler();
  }
}

static void MX_DFSDM1_Init(void)
{

  hdfsdm1_filter0.Instance = DFSDM1_Filter0;
  hdfsdm1_filter0.Init.RegularParam.Trigger = DFSDM_FILTER_SW_TRIGGER;
  hdfsdm1_filter0.Init.RegularParam.FastMode = DISABLE;
  hdfsdm1_filter0.Init.RegularParam.DmaMode = ENABLE;
  hdfsdm1_filter0.Init.FilterParam.SincOrder = DFSDM_FILTER_SINC3_ORDER;
  hdfsdm1_filter0.Init.FilterParam.Oversampling = 64;
  hdfsdm1_filter0.Init.FilterParam.IntOversampling = 1;
  if (HAL_DFSDM_FilterInit(&hdfsdm1_filter0) != HAL_OK)
  {
    Error_Handler();
  }
  hdfsdm1_channel2.Instance = DFSDM1_Channel2;
  hdfsdm1_channel2.Init.OutputClock.Activation = ENABLE;
  hdfsdm1_channel2.Init.OutputClock.Selection = DFSDM_CHANNEL_OUTPUT_CLOCK_SYSTEM;
  hdfsdm1_channel2.Init.OutputClock.Divider = 100;
  hdfsdm1_channel2.Init.Input.Multiplexer = DFSDM_CHANNEL_EXTERNAL_INPUTS;
  hdfsdm1_channel2.Init.Input.DataPacking = DFSDM_CHANNEL_STANDARD_MODE;
  hdfsdm1_channel2.Init.Input.Pins = DFSDM_CHANNEL_SAME_CHANNEL_PINS;
  hdfsdm1_channel2.Init.SerialInterface.Type = DFSDM_CHANNEL_SPI_RISING;
  hdfsdm1_channel2.Init.SerialInterface.SpiClock = DFSDM_CHANNEL_SPI_CLOCK_INTERNAL;
  hdfsdm1_channel2.Init.Awd.FilterOrder = DFSDM_CHANNEL_FASTSINC_ORDER;
  hdfsdm1_channel2.Init.Awd.Oversampling = 1;
  hdfsdm1_channel2.Init.Offset = 0;
  hdfsdm1_channel2.Init.RightBitShift = 0x08;
  if (HAL_DFSDM_ChannelInit(&hdfsdm1_channel2) != HAL_OK)
  {
    Error_Handler();
  }
  if (HAL_DFSDM_FilterConfigRegChannel(&hdfsdm1_filter0, DFSDM_CHANNEL_2, DFSDM_CONTINUOUS_CONV_ON) != HAL_OK)
  {
    Error_Handler();
  }

}

static void MX_I2C2_Init(void)
{

  hi2c2.Instance = I2C2;
  hi2c2.Init.Timing = 0x10D19CE4;
  hi2c2.Init.OwnAddress1 = 0;
  hi2c2.Init.AddressingMode = I2C_ADDRESSINGMODE_7BIT;
  hi2c2.Init.DualAddressMode = I2C_DUALADDRESS_DISABLE;
  hi2c2.Init.OwnAddress2 = 0;
  hi2c2.Init.OwnAddress2Masks = I2C_OA2_NOMASK;
  hi2c2.Init.GeneralCallMode = I2C_GENERALCALL_DISABLE;
  hi2c2.Init.NoStretchMode = I2C_NOSTRETCH_DISABLE;
  if (HAL_I2C_Init(&hi2c2) != HAL_OK)
  {
    Error_Handler();
  }

  /** Configure Analogue filter
  */
  if (HAL_I2CEx_ConfigAnalogFilter(&hi2c2, I2C_ANALOGFILTER_ENABLE) != HAL_OK)
  {
    Error_Handler();
  }

  /** Configure Digital filter
  */
  if (HAL_I2CEx_ConfigDigitalFilter(&hi2c2, 0) != HAL_OK)
  {
    Error_Handler();
  }

}

static void MX_RNG_Init(void)
{

  hrng.Instance = RNG;
  if (HAL_RNG_Init(&hrng) != HAL_OK)
  {
    Error_Handler();
  }

}

static void MX_SPI3_Init(void)
{

  /* USER CODE BEGIN SPI3_Init 0 */
//
  /* USER CODE END SPI3_Init 0 */

  /* USER CODE BEGIN SPI3_Init 1 */
//
  /* USER CODE END SPI3_Init 1 */
  /* SPI3 parameter configuration*/
  hspi3.Instance = SPI3;
  hspi3.Init.Mode = SPI_MODE_MASTER;
  hspi3.Init.Direction = SPI_DIRECTION_2LINES;
  hspi3.Init.DataSize = SPI_DATASIZE_4BIT;
  hspi3.Init.CLKPolarity = SPI_POLARITY_LOW;
  hspi3.Init.CLKPhase = SPI_PHASE_1EDGE;
  hspi3.Init.NSS = SPI_NSS_SOFT;
  hspi3.Init.BaudRatePrescaler = SPI_BAUDRATEPRESCALER_2;
  hspi3.Init.FirstBit = SPI_FIRSTBIT_MSB;
  hspi3.Init.TIMode = SPI_TIMODE_DISABLE;
  hspi3.Init.CRCCalculation = SPI_CRCCALCULATION_DISABLE;
  hspi3.Init.CRCPolynomial = 7;
  hspi3.Init.CRCLength = SPI_CRC_LENGTH_DATASIZE;
  hspi3.Init.NSSPMode = SPI_NSS_PULSE_ENABLE;
  if (HAL_SPI_Init(&hspi3) != HAL_OK)
  {
    Error_Handler();
  }
  /* USER CODE BEGIN SPI3_Init 2 */
//
  /* USER CODE END SPI3_Init 2 */

}

static void MX_USART1_UART_Init(void)
{

  huart1.Instance = USART1;
  huart1.Init.BaudRate = 115200;
  huart1.Init.WordLength = UART_WORDLENGTH_8B;
  huart1.Init.StopBits = UART_STOPBITS_1;
  huart1.Init.Parity = UART_PARITY_NONE;
  huart1.Init.Mode = UART_MODE_TX_RX;
  huart1.Init.HwFlowCtl = UART_HWCONTROL_NONE;
  huart1.Init.OverSampling = UART_OVERSAMPLING_16;
  huart1.Init.OneBitSampling = UART_ONE_BIT_SAMPLE_DISABLE;
  huart1.AdvancedInit.AdvFeatureInit = UART_ADVFEATURE_NO_INIT;
  if (HAL_UART_Init(&huart1) != HAL_OK)
  {
    Error_Handler();
  }

}

static void MX_DMA_Init(void)
{

  /* DMA controller clock enable */
  __HAL_RCC_DMA1_CLK_ENABLE();

  /* DMA interrupt init */
  /* DMA1_Channel4_IRQn interrupt configuration */
  HAL_NVIC_SetPriority(DMA1_Channel4_IRQn, 0, 0);
  HAL_NVIC_EnableIRQ(DMA1_Channel4_IRQn);

}

static void MX_GPIO_Init(void)
{
  GPIO_InitTypeDef GPIO_InitStruct = {0};

  /* GPIO Ports Clock Enable */
  __HAL_RCC_GPIOC_CLK_ENABLE();
  __HAL_RCC_GPIOA_CLK_ENABLE();
  __HAL_RCC_GPIOE_CLK_ENABLE();
  __HAL_RCC_GPIOB_CLK_ENABLE();

  /*Configure GPIO pin Output Level */
  HAL_GPIO_WritePin(LED1_GPIO_Port, LED1_Pin, GPIO_PIN_RESET);

  /*Configure GPIO pin Output Level */
  HAL_GPIO_WritePin(LED2_GPIO_Port, LED2_Pin, GPIO_PIN_RESET);

  /*Configure GPIO pin Output Level */
  HAL_GPIO_WritePin(UPDATE_LED_GPIO_Port, UPDATE_LED_Pin, GPIO_PIN_RESET);

  /*Configure GPIO pin : USER_BTN_Pin */
  GPIO_InitStruct.Pin = USER_BTN_Pin;
  GPIO_InitStruct.Mode = GPIO_MODE_IT_RISING;
  GPIO_InitStruct.Pull = GPIO_PULLDOWN;
  HAL_GPIO_Init(USER_BTN_GPIO_Port, &GPIO_InitStruct);

  /*Configure GPIO pin : LED1_Pin */
  GPIO_InitStruct.Pin = LED1_Pin;
  GPIO_InitStruct.Mode = GPIO_MODE_OUTPUT_PP;
  GPIO_InitStruct.Pull = GPIO_NOPULL;
  GPIO_InitStruct.Speed = GPIO_SPEED_FREQ_LOW;
  HAL_GPIO_Init(LED1_GPIO_Port, &GPIO_InitStruct);

  /*Configure GPIO pin : LED2_Pin */
  GPIO_InitStruct.Pin = LED2_Pin;
  GPIO_InitStruct.Mode = GPIO_MODE_OUTPUT_PP;
  GPIO_InitStruct.Pull = GPIO_NOPULL;
  GPIO_InitStruct.Speed = GPIO_SPEED_FREQ_LOW;
  HAL_GPIO_Init(LED2_GPIO_Port, &GPIO_InitStruct);

  /*Configure GPIO pin : UPDATE_LED_Pin */
  GPIO_InitStruct.Pin = UPDATE_LED_Pin;
  GPIO_InitStruct.Mode = GPIO_MODE_OUTPUT_PP;
  GPIO_InitStruct.Pull = GPIO_NOPULL;
  GPIO_InitStruct.Speed = GPIO_SPEED_FREQ_LOW;
  HAL_GPIO_Init(UPDATE_LED_GPIO_Port, &GPIO_InitStruct);

  /*Configure GPIO pin : PE1 */
  GPIO_InitStruct.Pin = GPIO_PIN_1;
  GPIO_InitStruct.Mode = GPIO_MODE_IT_RISING;
  GPIO_InitStruct.Pull = GPIO_NOPULL;
  HAL_GPIO_Init(GPIOE, &GPIO_InitStruct);

  /* EXTI interrupt init*/
  HAL_NVIC_SetPriority(EXTI1_IRQn, 0, 0);
  HAL_NVIC_EnableIRQ(EXTI1_IRQn);

  HAL_NVIC_SetPriority(EXTI15_10_IRQn, 0, 0);
  HAL_NVIC_EnableIRQ(EXTI15_10_IRQn);

}

/* USER CODE BEGIN 4 */

/* USER CODE BEGIN 4 */

// 1. Called when the first half (0 to 1023) is full
void HAL_DFSDM_FilterRegConvHalfCpltCallback(DFSDM_Filter_HandleTypeDef *hdfsdm_filter)
{
    buffer_state = 1;
}

// 2. Second Half Full
void HAL_DFSDM_FilterRegConvCpltCallback(DFSDM_Filter_HandleTypeDef *hdfsdm_filter)
{
    buffer_state = 2;
}

void HAL_GPIO_EXTI_Callback(uint16_t GPIO_Pin)
{
    if (GPIO_Pin == USER_BTN_Pin)
    {
        button_pressed_flag = 1;
        printf("button pressed mdk \r\n");
    }

    else if (GPIO_Pin == GPIO_PIN_1)
    {
        SPI_WIFI_ISR();
    }
}

void SPI3_IRQHandler(void)
{
  HAL_SPI_IRQHandler(&hspi);
}

/* USER CODE END 4 */

void Error_Handler(void)
{
  __disable_irq();
  while (1)
  {
  }
}
